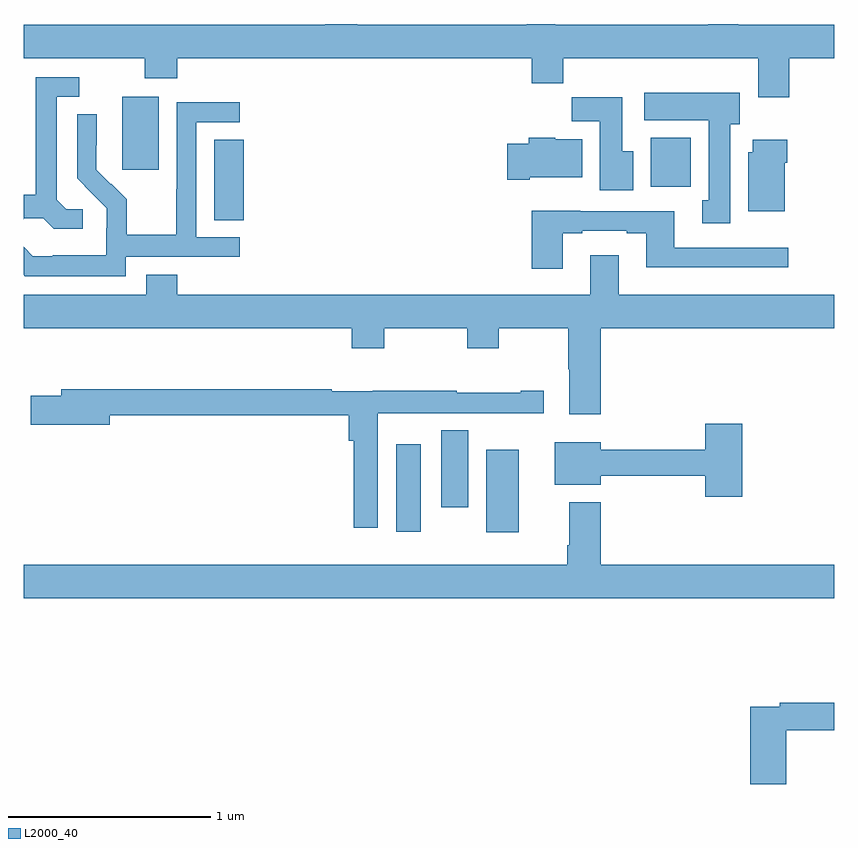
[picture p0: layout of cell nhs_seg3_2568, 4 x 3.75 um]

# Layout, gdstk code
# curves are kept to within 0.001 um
import gdstk
lib = gdstk.Library(unit=1e-6, precision=1e-09)
def R(c, l, rs):  # rectangles x0, y0, x1, y1
    for r in rs: c.add(gdstk.rectangle(r[:2], r[2:], *l))
def P(c, l, *ps):  # polygons
    for p in ps: c.add(gdstk.Polygon(p, *l))
L2000_40 = (2000, 40)

nhs_seg3_2568 = lib.new_cell('nhs_seg3_2568')
R(nhs_seg3_2568, L2000_40, [(245.282,715.893,245.443,716.299), (244.838,715.896,244.96,716.326), (245.06,716.016,245.194,716.396), (243.941,717.433,244.085,717.83), (246.095,717.596,246.292,717.838), (243.488,717.681,243.667,718.042)])
P(nhs_seg3_2568, L2000_40, [(246.776,718.232),(247,718.232),(247,718.396),(246.525,718.396),(246.525,718.4),(246.377,718.4),(246.377,718.396),(245.623,718.396),(245.623,718.4),(245.483,718.4),(245.483,718.396),(244.647,718.396),(244.647,718.4),(244.487,718.4),(244.487,718.396),(243,718.396),(243,718.232),(243.598,718.232),(243.598,718.133),(243.758,718.133),(243.758,718.232),(245.507,718.232),(245.507,718.108),(245.663,718.108),(245.663,718.232),(246.623,718.232),(246.623,718.038),(246.776,718.038)],
  [(243.292,717.486),(243.21,717.486),(243.163,717.533),(243.163,718.041),(243.274,718.041),(243.274,718.137),(243.059,718.137),(243.059,717.557),(243,717.557),(243,717.438),(243.002,717.438),(243.002,717.441),(243.096,717.441),(243.148,717.389),(243.292,717.389)],
  [(246.487,717.906),(246.532,717.906),(246.532,718.06),(246.063,718.06),(246.063,717.926),(246.38,717.926),(246.38,717.53),(246.347,717.53),(246.347,717.417),(246.487,717.417)],
  [(246.007,717.772),(245.953,717.772),(245.953,718.039),(245.704,718.039),(245.704,717.92),(245.843,717.92),(245.843,717.579),(246.007,717.579)],
  [(243.504,717.252),(244.066,717.252),(244.066,717.348),(243.852,717.348),(243.852,717.915),(244.066,717.915),(244.066,718.014),(243.756,718.014),(243.756,717.584),(243.754,717.584),(243.754,717.361),(243.509,717.361),(243.509,717.535),(243.432,717.612),(243.429,717.609),(243.359,717.68),(243.36,717.956),(243.264,717.956),(243.264,717.638),(243.41,717.49),(243.41,717.393),(243.408,717.393),(243.408,717.259),(243.145,717.259),(243.145,717.255),(243.045,717.255),(243,717.3),(243,717.162),(243.007,717.155),(243.504,717.155)],
  [(245.497,717.644),(245.755,717.644),(245.755,717.832),(245.622,717.832),(245.622,717.838),(245.492,717.838),(245.492,717.81),(245.385,717.81),(245.385,717.632),(245.497,717.632)],
  [(246.754,717.716),(246.767,717.716),(246.767,717.829),(246.596,717.829),(246.596,717.768),(246.575,717.768),(246.575,717.476),(246.754,717.476)],
  [(245.659,717.369),(245.755,717.369),(245.755,717.381),(245.975,717.381),(245.975,717.369),(246.071,717.369),(246.071,717.2),(246.772,717.2),(246.772,717.297),(246.211,717.297),(246.211,717.477),(245.747,717.477),(245.747,717.478),(245.507,717.478),(245.507,717.192),(245.659,717.192)],
  [(245.846,716.9),(247,716.9),(247,717.064),(245.935,717.064),(245.935,717.259),(245.795,717.259),(245.795,717.064),(243.758,717.064),(243.758,717.163),(243.605,717.163),(243.605,717.064),(243,717.064),(243,716.9),(244.619,716.9),(244.619,716.801),(244.779,716.801),(244.779,716.9),(245.188,716.9),(245.188,716.801),(245.343,716.801),(245.343,716.9),(245.686,716.9),(245.686,716.696),(245.693,716.696),(245.693,716.475),(245.846,716.475)],
  [(244.746,716.48),(244.956,716.48),(244.956,716.481),(245.29,716.481),(245.29,716.48),(245.566,716.48),(245.566,716.59),(245.453,716.59),(245.453,716.58),(245.138,716.58),(245.138,716.59),(244.722,716.59),(244.722,716.588),(244.52,716.588),(244.52,716.599),(243.185,716.599),(243.185,716.565),(243.036,716.565),(243.036,716.423),(243.424,716.423),(243.424,716.47),(244.604,716.47),(244.604,716.345),(244.63,716.345),(244.63,715.914),(244.746,715.914)],
  [(246.545,716.428),(246.362,716.428),(246.362,716.3),(245.848,716.3),(245.848,716.338),(245.621,716.338),(245.621,716.126),(245.848,716.126),(245.848,716.172),(246.362,716.172),(246.362,716.067),(246.545,716.067)],
  [(247,715.732),(245.846,715.732),(245.846,716.041),(245.693,716.041),(245.693,715.828),(245.681,715.828),(245.681,715.732),(243,715.732),(243,715.568),(247,715.568)],
  [(246.762,714.916),(247,714.916),(247,715.052),(246.73,715.052),(246.73,715.032),(246.584,715.032),(246.584,714.651),(246.762,714.651)])

lib.write_gds('nhs_seg3_2568.gds')
